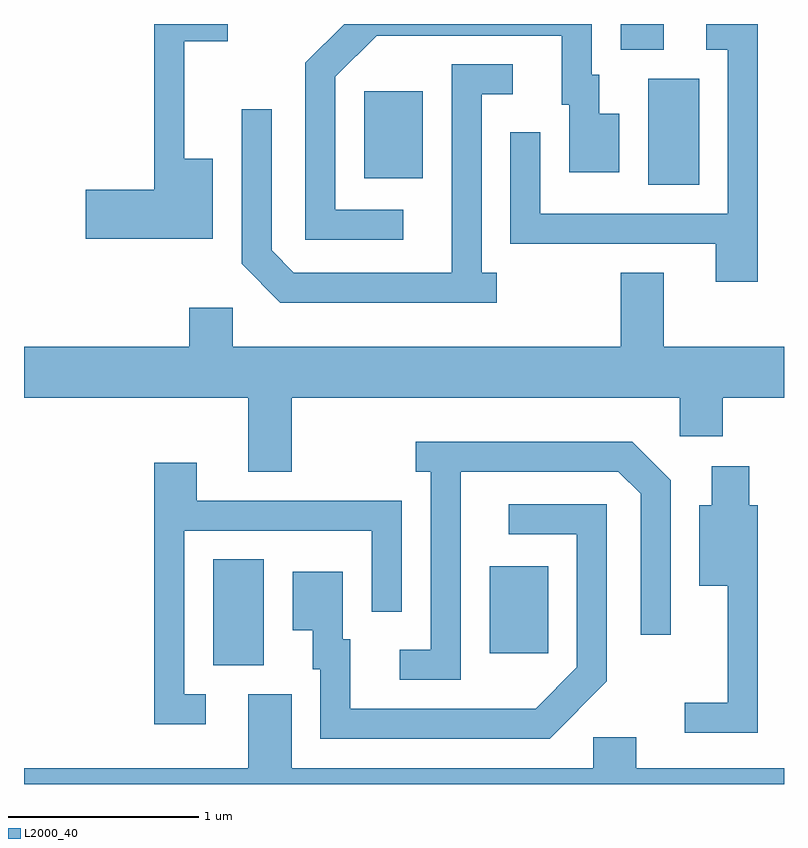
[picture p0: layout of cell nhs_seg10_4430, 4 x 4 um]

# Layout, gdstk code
import gdstk
lib = gdstk.Library(unit=1e-6, precision=1e-09)
def R(c, l, rs):  # rectangles x0, y0, x1, y1
    for r in rs: c.add(gdstk.rectangle(r[:2], r[2:], *l))
def P(c, l, *ps):  # polygons
    for p in ps: c.add(gdstk.Polygon(p, *l))
L2000_40 = (2000, 40)

nhs_seg10_4430 = lib.new_cell('nhs_seg10_4430')
R(nhs_seg10_4430, L2000_40, [(316.606,2139.146,316.874,2139.704), (318.061,2139.211,318.369,2139.669), (318.896,2141.676,319.164,2142.234), (317.401,2141.711,317.709,2142.169), (318.751,2142.386,318.979,2142.522)])
P(nhs_seg10_4430, L2000_40, [(319.474,2142.522),(319.203,2142.522),(319.203,2142.386),(319.316,2142.386),(319.316,2141.524),(318.329,2141.524),(318.329,2141.953),(318.171,2141.953),(318.171,2141.366),(319.251,2141.366),(319.251,2141.166),(319.474,2141.166)],
  [(316.604,2141.814),(316.454,2141.814),(316.454,2142.431),(316.683,2142.431),(316.683,2142.522),(316.296,2142.522),(316.296,2141.649),(315.936,2141.649),(315.936,2141.391),(316.604,2141.391)],
  [(317.608,2141.544),(317.249,2141.544),(317.249,2142.244),(317.467,2142.461),(318.441,2142.461),(318.441,2142.096),(318.481,2142.096),(318.481,2141.741),(318.744,2141.741),(318.744,2142.049),(318.639,2142.049),(318.639,2142.254),(318.599,2142.254),(318.599,2142.522),(317.297,2142.522),(317.091,2142.317),(317.091,2141.386),(317.608,2141.386)],
  [(318.098,2141.214),(318.019,2141.214),(318.019,2142.151),(318.183,2142.151),(318.183,2142.309),(317.861,2142.309),(317.861,2141.214),(317.032,2141.214),(316.914,2141.332),(316.914,2142.073),(316.756,2142.073),(316.756,2141.259),(316.959,2141.056),(318.098,2141.056)],
  [(317.019,2140.556),(319.061,2140.556),(319.061,2140.351),(319.289,2140.351),(319.289,2140.556),(319.611,2140.556),(319.611,2140.824),(318.979,2140.824),(318.979,2141.214),(318.751,2141.214),(318.751,2140.824),(316.709,2140.824),(316.709,2141.029),(316.481,2141.029),(316.481,2140.824),(315.611,2140.824),(315.611,2140.556),(316.791,2140.556),(316.791,2140.166),(317.019,2140.166)],
  [(317.909,2140.166),(318.739,2140.166),(318.856,2140.049),(318.856,2139.308),(319.014,2139.308),(319.014,2140.122),(318.812,2140.324),(317.673,2140.324),(317.673,2140.166),(317.751,2140.166),(317.751,2139.229),(317.588,2139.229),(317.588,2139.071),(317.909,2139.071)],
  [(316.568,2138.994),(316.454,2138.994),(316.454,2139.856),(317.441,2139.856),(317.441,2139.428),(317.599,2139.428),(317.599,2140.014),(316.519,2140.014),(316.519,2140.214),(316.296,2140.214),(316.296,2138.836),(316.568,2138.836)],
  [(319.474,2139.989),(319.429,2139.989),(319.429,2140.194),(319.231,2140.194),(319.231,2139.989),(319.166,2139.989),(319.166,2139.566),(319.316,2139.566),(319.316,2138.949),(319.088,2138.949),(319.088,2138.791),(319.474,2138.791)],
  [(318.679,2139.064),(318.679,2139.994),(318.163,2139.994),(318.163,2139.836),(318.521,2139.836),(318.521,2139.137),(318.304,2138.919),(317.329,2138.919),(317.329,2139.284),(317.289,2139.284),(317.289,2139.639),(317.026,2139.639),(317.026,2139.331),(317.131,2139.331),(317.131,2139.126),(317.171,2139.126),(317.171,2138.761),(318.377,2138.761)],
  [(319.611,2138.604),(318.834,2138.604),(318.834,2138.769),(318.606,2138.769),(318.606,2138.604),(317.019,2138.604),(317.019,2138.994),(316.791,2138.994),(316.791,2138.604),(315.611,2138.604),(315.611,2138.522),(319.611,2138.522)])

lib.write_gds('nhs_seg10_4430.gds')
